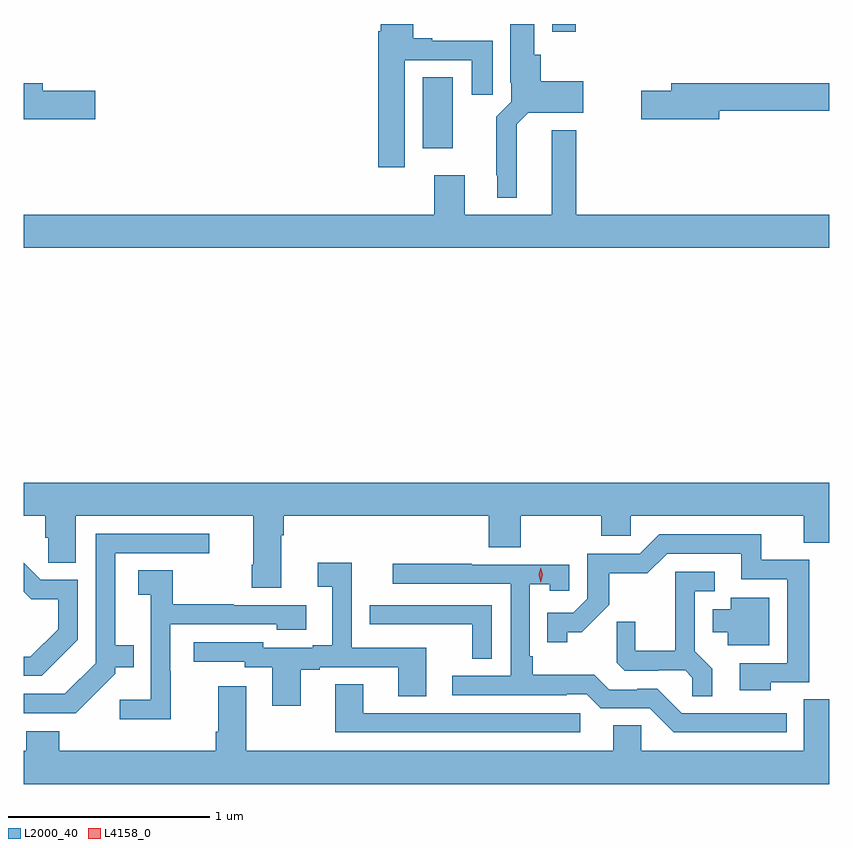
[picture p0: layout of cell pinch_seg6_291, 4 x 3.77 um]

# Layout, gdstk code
import gdstk
lib = gdstk.Library(unit=1e-6, precision=1e-09)
def R(c, l, rs):  # rectangles x0, y0, x1, y1
    for r in rs: c.add(gdstk.rectangle(r[:2], r[2:], *l))
def P(c, l, *ps):  # polygons
    for p in ps: c.add(gdstk.Polygon(p, *l))
L2000_40 = (2000, 40)
L4158_0 = (4158, 0)

pinch_seg6_291 = lib.new_cell('pinch_seg6_291')
R(pinch_seg6_291, L2000_40, [(782.744,994.449,782.893,994.802), (783.387,995.028,783.503,995.067)])
P(pinch_seg6_291, L2000_40, [(782.653,994.887),(782.987,994.887),(782.987,994.716),(783.091,994.716),(783.091,994.983),(782.791,994.983),(782.791,994.996),(782.695,994.996),(782.695,995.067),(782.534,995.067),(782.534,995.03),(782.522,995.03),(782.522,994.356),(782.653,994.356)],
  [(783.211,994.568),(783.267,994.625),(783.541,994.625),(783.541,994.783),(783.329,994.783),(783.329,994.914),(783.298,994.914),(783.298,995.067),(783.179,995.067),(783.179,994.774),(783.183,994.774),(783.183,994.68),(783.109,994.606),(783.109,994.315),(783.113,994.315),(783.113,994.205),(783.211,994.205)],
  [(781.117,994.736),(780.856,994.736),(780.856,994.772),(780.762,994.772),(780.762,994.594),(781.117,994.594)],
  [(784.216,994.636),(784.762,994.636),(784.762,994.772),(783.977,994.772),(783.977,994.736),(783.828,994.736),(783.828,994.594),(784.216,994.594)],
  [(784.762,994.12),(783.506,994.12),(783.506,994.54),(783.383,994.54),(783.383,994.12),(782.953,994.12),(782.953,994.315),(782.801,994.315),(782.801,994.12),(780.762,994.12),(780.762,993.956),(784.762,993.956)],
  [(782.041,992.528),(782.054,992.528),(782.054,992.624),(783.071,992.624),(783.071,992.467),(783.231,992.467),(783.231,992.624),(783.631,992.624),(783.631,992.526),(783.777,992.526),(783.777,992.624),(784.637,992.624),(784.637,992.491),(784.762,992.491),(784.762,992.788),(780.762,992.788),(780.762,992.624),(780.869,992.624),(780.869,992.514),(780.883,992.514),(780.883,992.392),(781.021,992.392),(781.021,992.624),(781.901,992.624),(781.901,992.38),(781.894,992.38),(781.894,992.268),(782.041,992.268)],
  [(781.215,991.839),(781.215,991.871),(781.307,991.871),(781.307,991.981),(781.216,991.981),(781.216,992.439),(781.684,992.439),(781.684,992.535),(781.119,992.535),(781.119,991.893),(780.966,991.74),(780.762,991.74),(780.762,991.644),(781.02,991.644)],
  [(784.473,991.797),(784.663,991.797),(784.663,992.406),(784.424,992.406),(784.424,992.532),(783.918,992.532),(783.822,992.436),(783.561,992.436),(783.561,992.211),(783.492,992.142),(783.361,992.142),(783.361,991.995),(783.462,991.995),(783.462,992.045),(783.532,992.045),(783.67,992.182),(783.67,992.338),(783.859,992.338),(783.957,992.436),(784.325,992.436),(784.325,992.31),(784.554,992.31),(784.554,991.893),(784.317,991.893),(784.317,991.757),(784.473,991.757)],
  [(782.137,991.86),(782.233,991.86),(782.233,991.872),(782.621,991.872),(782.621,991.729),(782.761,991.729),(782.761,991.968),(782.391,991.968),(782.391,992.392),(782.223,992.392),(782.223,992.272),(782.294,992.272),(782.294,991.981),(782.198,991.981),(782.198,991.968),(781.95,991.968),(781.95,991.995),(781.605,991.995),(781.605,991.899),(781.86,991.899),(781.86,991.872),(781.997,991.872),(781.997,991.68),(782.137,991.68)],
  [(781.029,992.009),(781.029,992.307),(780.846,992.307),(780.762,992.391),(780.762,992.247),(780.799,992.21),(780.932,992.21),(780.932,992.06),(780.795,991.923),(780.762,991.923),(780.762,991.83),(780.85,991.83)],
  [(784.552,991.644),(784.029,991.644),(783.909,991.764),(783.808,991.764),(783.808,991.761),(783.669,991.761),(783.596,991.834),(783.289,991.834),(783.289,991.927),(783.276,991.927),(783.276,992.285),(783.375,992.285),(783.375,992.253),(783.471,992.253),(783.471,992.382),(782.987,992.382),(782.987,992.385),(782.595,992.385),(782.595,992.286),(783.18,992.286),(783.18,991.83),(782.889,991.83),(782.889,991.734),(783.458,991.734),(783.458,991.737),(783.558,991.737),(783.627,991.668),(783.87,991.668),(783.99,991.548),(784.552,991.548)],
  [(781.491,991.853),(781.488,991.853),(781.488,992.085),(782.019,992.085),(782.019,992.057),(782.164,992.057),(782.164,992.181),(781.805,992.181),(781.805,992.184),(781.501,992.184),(781.501,992.354),(781.329,992.354),(781.329,992.233),(781.392,992.233),(781.392,991.711),(781.239,991.711),(781.239,991.613),(781.491,991.613)],
  [(784.181,991.865),(784.095,991.951),(784.095,992.25),(784.195,992.25),(784.195,992.346),(783.998,992.346),(783.998,991.954),(783.8,991.954),(783.8,992.097),(783.706,992.097),(783.706,991.895),(783.747,991.854),(783.912,991.854),(783.912,991.857),(784.046,991.857),(784.083,991.82),(784.083,991.729),(784.181,991.729)],
  [(784.465,992.218),(784.274,992.218),(784.274,992.161),(784.184,992.161),(784.184,992.045),(784.259,992.045),(784.259,991.982),(784.465,991.982)],
  [(783.087,992.181),(782.481,992.181),(782.481,992.086),(782.593,992.086),(782.593,992.085),(782.989,992.085),(782.989,991.915),(783.087,991.915)],
  [(783.526,991.644),(782.449,991.644),(782.449,991.787),(782.309,991.787),(782.309,991.548),(783.526,991.548)],
  [(784.762,991.712),(784.637,991.712),(784.637,991.456),(783.828,991.456),(783.828,991.583),(783.689,991.583),(783.689,991.456),(781.867,991.456),(781.867,991.777),(781.727,991.777),(781.727,991.552),(781.715,991.552),(781.715,991.456),(780.938,991.456),(780.938,991.555),(780.773,991.555),(780.773,991.456),(780.762,991.456),(780.762,991.292),(784.762,991.292)])
P(pinch_seg6_291, L4158_0, [(783.33,992.295),(783.33,992.295),(783.32,992.331),(783.33,992.367),(783.33,992.367),(783.33,992.367),(783.34,992.331),(783.33,992.295)])

lib.write_gds('pinch_seg6_291.gds')
